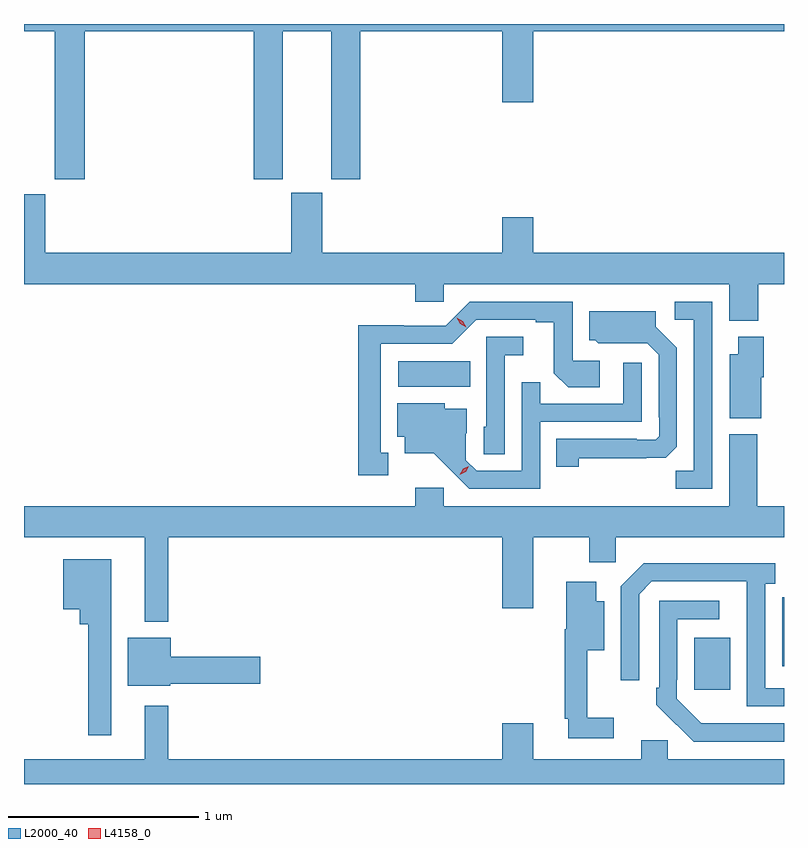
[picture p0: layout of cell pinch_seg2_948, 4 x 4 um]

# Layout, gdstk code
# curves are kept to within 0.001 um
import gdstk
lib = gdstk.Library(unit=1e-6, precision=1e-09)
def R(c, l, rs):  # rectangles x0, y0, x1, y1
    for r in rs: c.add(gdstk.rectangle(r[:2], r[2:], *l))
def P(c, l, *ps):  # polygons
    for p in ps: c.add(gdstk.Polygon(p, *l))
L2000_40 = (2000, 40)
L4158_0 = (4158, 0)

pinch_seg2_948 = lib.new_cell('pinch_seg2_948')
R(pinch_seg2_948, L2000_40, [(321.863,638.841,322.051,639.115), (320.304,640.436,320.684,640.57)])
P(pinch_seg2_948, L2000_40, [(318.656,642.308),(319.544,642.308),(319.544,641.529),(319.696,641.529),(319.696,642.308),(319.952,642.308),(319.952,641.529),(320.105,641.529),(320.105,642.308),(320.852,642.308),(320.852,641.934),(321.016,641.934),(321.016,642.308),(322.335,642.308),(322.335,642.345),(318.335,642.345),(318.335,642.308),(318.496,642.308),(318.496,641.529),(318.656,641.529)],
  [(322.199,640.976),(322.335,640.976),(322.335,641.14),(321.016,641.14),(321.016,641.329),(320.852,641.329),(320.852,641.14),(319.906,641.14),(319.906,641.457),(319.742,641.457),(319.742,641.14),(318.448,641.14),(318.448,641.449),(318.335,641.449),(318.335,640.976),(320.393,640.976),(320.393,640.883),(320.544,640.883),(320.544,640.976),(322.046,640.976),(322.046,640.784),(322.199,640.784)],
  [(320.251,640.089),(320.212,640.089),(320.212,640.662),(320.589,640.662),(320.715,640.788),(321.029,640.788),(321.029,640.776),(321.123,640.776),(321.123,640.508),(321.199,640.432),(321.364,640.432),(321.364,640.572),(321.222,640.572),(321.222,640.884),(320.682,640.884),(320.556,640.758),(320.334,640.758),(320.334,640.76),(320.094,640.76),(320.094,639.969),(320.251,639.969)],
  [(321.957,640.884),(321.759,640.884),(321.759,640.788),(321.861,640.788),(321.861,639.995),(321.766,639.995),(321.766,639.9),(321.957,639.9)],
  [(321.255,640.06),(321.712,640.061),(321.771,640.12),(321.771,640.642),(321.661,640.752),(321.661,640.834),(321.311,640.834),(321.311,640.68),(321.342,640.68),(321.358,640.664),(321.615,640.665),(321.675,640.605),(321.675,640.276),(321.678,640.276),(321.678,640.176),(321.66,640.158),(321.56,640.158),(321.56,640.161),(321.136,640.161),(321.136,640.014),(321.255,640.014)],
  [(322.216,640.485),(322.229,640.485),(322.229,640.699),(322.094,640.699),(322.094,640.606),(322.049,640.606),(322.049,640.271),(322.216,640.271)],
  [(320.865,640.601),(320.962,640.601),(320.962,640.698),(320.769,640.698),(320.769,640.224),(320.754,640.224),(320.754,640.081),(320.865,640.081)],
  [(321.051,640.251),(321.585,640.251),(321.585,640.561),(321.489,640.561),(321.489,640.347),(321.053,640.347),(321.053,640.46),(320.955,640.46),(320.955,639.993),(320.718,639.993),(320.661,640.05),(320.661,640.192),(320.665,640.192),(320.665,640.321),(320.55,640.321),(320.55,640.348),(320.3,640.348),(320.3,640.172),(320.339,640.172),(320.339,640.085),(320.491,640.085),(320.678,639.9),(321.051,639.9)],
  [(319.093,639.644),(320.852,639.644),(320.852,639.27),(321.016,639.27),(321.016,639.644),(321.311,639.644),(321.311,639.513),(321.45,639.513),(321.45,639.644),(322.335,639.644),(322.335,639.808),(322.194,639.808),(322.194,640.186),(322.046,640.186),(322.046,639.808),(320.544,639.808),(320.544,639.904),(320.393,639.904),(320.393,639.808),(318.335,639.808),(318.335,639.644),(318.971,639.644),(318.971,639.2),(319.093,639.2)],
  [(318.793,639.529),(318.542,639.529),(318.542,639.266),(318.628,639.266),(318.628,639.185),(318.672,639.185),(318.672,638.601),(318.793,638.601)],
  [(322.335,638.85),(322.236,638.85),(322.236,639.398),(322.288,639.398),(322.288,639.508),(321.598,639.508),(321.477,639.387),(321.477,638.892),(321.573,638.892),(321.573,639.345),(321.639,639.411),(322.139,639.411),(322.14,638.754),(322.335,638.754)],
  [(321.439,638.695),(321.299,638.695),(321.299,639.05),(321.388,639.05),(321.388,639.307),(321.346,639.307),(321.346,639.409),(321.188,639.409),(321.188,639.16),(321.181,639.16),(321.181,638.689),(321.2,638.689),(321.2,638.586),(321.439,638.586)],
  [(322.335,639.327),(322.327,639.327),(322.327,639.218),(322.326,639.218),(322.326,638.964),(322.335,638.964)],
  [(322.335,638.664),(321.9,638.665),(321.771,638.793),(321.771,638.893),(321.774,638.893),(321.774,639.213),(321.994,639.213),(321.994,639.309),(321.678,639.309),(321.678,638.851),(321.663,638.851),(321.663,638.763),(321.768,638.658),(321.769,638.659),(321.86,638.568),(322.335,638.568)],
  [(319.104,638.872),(319.579,638.872),(319.579,639.014),(319.108,639.014),(319.108,639.115),(318.881,639.115),(318.881,638.861),(319.104,638.861)],
  [(322.335,638.476),(321.723,638.476),(321.723,638.574),(321.584,638.574),(321.584,638.476),(321.016,638.476),(321.016,638.665),(320.852,638.665),(320.852,638.476),(319.093,638.476),(319.093,638.758),(318.971,638.758),(318.971,638.476),(318.335,638.476),(318.335,638.345),(322.335,638.345)])
P(pinch_seg2_948, L4158_0, [(320.628,639.973),(320.628,639.973),(320.646,640.003),(320.676,640.018),(320.676,640.018),(320.676,640.018),(320.659,639.988),(320.628,639.973)],
  [(320.662,640.749),(320.63,640.767),(320.612,640.799),(320.612,640.8),(320.612,640.8),(320.644,640.781),(320.662,640.749),(320.662,640.749)])

lib.write_gds('pinch_seg2_948.gds')
